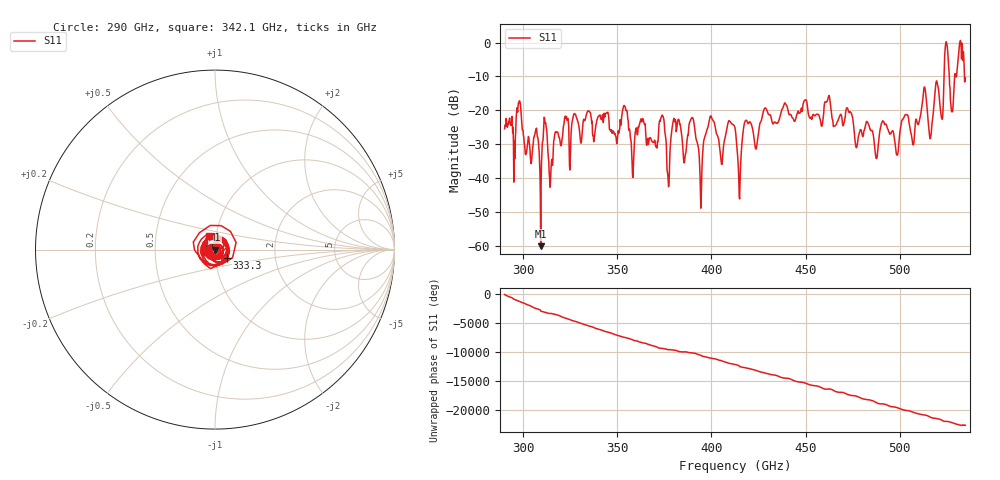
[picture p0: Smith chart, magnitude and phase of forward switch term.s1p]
!Created with skrf (http://scikit-rf.org).
# GHz S RI R 50.0
!freq ReS11 ImS11
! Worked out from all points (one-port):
!   1201 points, 290 GHz to 535 GHz, reference 50 ohm
!   lowest |S11| = -60.1 dB at 309.2 GHz (marker M1), VSWR 1.00, Z = 50 - j0.0913 ohm
!   |S11| at or under -10 dB: start of sweep to 523.6 GHz; 526.4 GHz to 529.3 GHz (2.869 GHz wide, 0.544 % of centre); 534.5045 GHz to end of sweep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
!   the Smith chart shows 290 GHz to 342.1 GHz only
!   S11 on the Smith chart (normalised r, x): 290 GHz: 0.90, -0.01; 333.3 GHz: 1.14, -0.11; 342.1 GHz: 0.92, +0.15
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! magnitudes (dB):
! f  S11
! 290 GHz  -25.5
! 297.6 GHz  -17.9
! 309.2 GHz  -60.1
! 320.6 GHz  -28.3
! 333.3 GHz  -21.6
! 342.1 GHz  -21.3
! 351.2 GHz  -25.2
! 373.7 GHz  -21.5
! 377 GHz  -40.9
! 381.9 GHz  -23.7
! 385.8 GHz  -34.8
! 389.8 GHz  -22.2
! 394.1 GHz  -43.7
! 399.6 GHz  -21.7
! 412.5 GHz  -25.2
! 414.7 GHz  -45.3
! 418.4 GHz  -22.9
! 443.1 GHz  -22.3
! 473.8 GHz  -20.4
! 487.6 GHz  -34.3
! 504.4 GHz  -21.5
! 513.4 GHz  -13.2
! 516.6 GHz  -27.5
! 522.3 GHz  -22.3
! 525 GHz  -0.1
! 527.9 GHz  -20.1
! 532.1 GHz  0.0
! 535 GHz  -10.4
